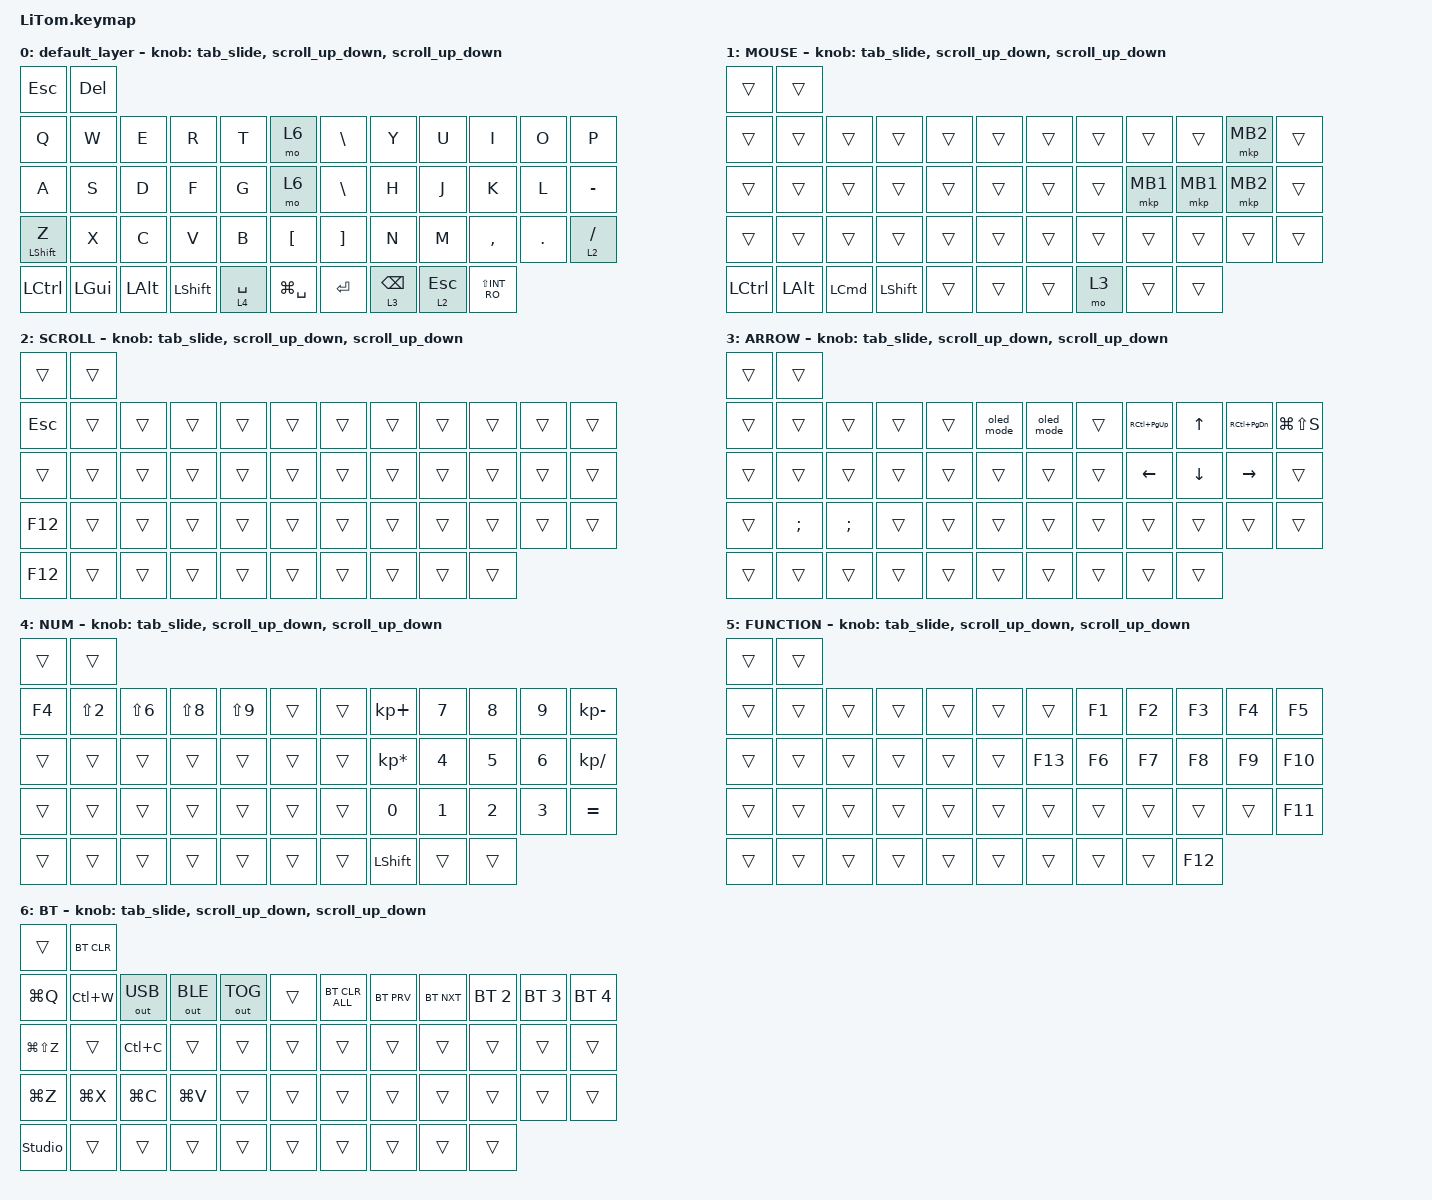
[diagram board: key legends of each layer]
#include <zephyr/dt-bindings/input/input-event-codes.h>
#include <input/processors/runtime-input-processor.dtsi>
#include <behaviors/runtime-sensor-rotate.dtsi>
#include <behaviors.dtsi>
#include <dt-bindings/zmk/bt.h>
#include <dt-bindings/zmk/keys.h>
#include <dt-bindings/zmk/outputs.h>
#include <dt-bindings/zmk/pointing.h>

#undef ZMK_POINTING_DEFAULT_SCRL_VAL

#define ZMK_POINTING_DEFAULT_SCRL_VAL 80

/ {
    behaviors {
        scroll_up_down: behavior_sensor_rotate_mouse_wheel_up_down {
            compatible = "zmk,behavior-runtime-sensor-rotate";
            label = "ENCODER_MSC_DOWN_UP";
            #sensor-binding-cells = <0>;
            cw-binding = <&msc SCRL_DOWN>;
            ccw-binding = <&msc SCRL_UP>;
            tap-ms = <20>;
        };

        tab_slide: behavior_sensor_rotate_tab_slide {
            compatible = "zmk,behavior-runtime-sensor-rotate";
            label = "ENCODER_TAB_SLIDE";
            #sensor-binding-cells = <0>;
            cw-binding = <&kp LA(LG(RIGHT_ARROW))>;
            ccw-binding = <&kp LA(LG(LEFT_ARROW))>;
            tap-ms = <20>;
        };
    };

    keymap: combos {
        compatible = "zmk,combos";

        tab {
            bindings = <&kp TAB>;
            key-positions = <14 15>;
        };
    };

    keymap {
        compatible = "zmk,keymap";

        default_layer {
            bindings = <
&kp ESCAPE        &kp DELETE
&kp Q             &kp W         &kp E         &kp R           &kp T        &mo 6             &kp BACKSLASH      &kp Y            &kp U         &kp I           &kp O    &kp P
&kp A             &kp S         &kp D         &kp F           &kp G        &mo 6             &kp BACKSLASH      &kp H            &kp J         &kp K           &kp L    &kp MINUS
&mt LEFT_SHIFT Z  &kp X         &kp C         &kp V           &kp B        &kp LEFT_BRACKET  &kp RIGHT_BRACKET  &kp N            &kp M         &kp COMMA       &kp DOT  &lt 2 SLASH
&kp LCTRL         &kp LEFT_GUI  &kp LEFT_ALT  &kp LEFT_SHIFT  &lt 4 SPACE  &kp LG(SPACE)     &kp ENTER          &lt 3 BACKSPACE  &lt 2 ESCAPE  &kp LS(INT_RO)
            >;

            sensor-bindings = <
                &tab_slide
                &scroll_up_down
                &scroll_up_down
            >;
        };

        MOUSE {
            bindings = <
&trans     &trans
&trans     &trans        &trans            &trans          &trans  &trans  &trans  &trans  &trans    &trans    &mkp MB2  &trans
&trans     &trans        &trans            &trans          &trans  &trans  &trans  &trans  &mkp MB1  &mkp MB1  &mkp MB2  &trans
&trans     &trans        &trans            &trans          &trans  &trans  &trans  &trans  &trans    &trans    &trans    &trans
&kp LCTRL  &kp LEFT_ALT  &kp LEFT_COMMAND  &kp LEFT_SHIFT  &trans  &trans  &trans  &mo 3   &trans    &trans
            >;

            sensor-bindings = <
                &tab_slide
                &scroll_up_down
                &scroll_up_down
            >;
        };

        SCROLL {
            bindings = <
&trans      &trans
&kp ESCAPE  &trans  &trans  &trans  &trans  &trans  &trans  &trans  &trans  &trans  &trans  &trans
&trans      &trans  &trans  &trans  &trans  &trans  &trans  &trans  &trans  &trans  &trans  &trans
&kp F12     &trans  &trans  &trans  &trans  &trans  &trans  &trans  &trans  &trans  &trans  &trans
&kp F12     &trans  &trans  &trans  &trans  &trans  &trans  &trans  &trans  &trans
            >;

            sensor-bindings = <
                &tab_slide
                &scroll_up_down
                &scroll_up_down
            >;
        };

        ARROW {
            bindings = <
&trans  &trans
&trans  &trans    &trans    &trans  &trans  &oled_mode  &oled_mode  &trans  &kp RC(PAGE_UP)  &kp UP_ARROW    &kp RC(PAGE_DOWN)  &kp LG(LS(S))
&trans  &trans    &trans    &trans  &trans  &trans      &trans      &trans  &kp LEFT_ARROW   &kp DOWN_ARROW  &kp RIGHT_ARROW    &trans
&trans  &kp SEMI  &kp SEMI  &trans  &trans  &trans      &trans      &trans  &trans           &trans          &trans             &trans
&trans  &trans    &trans    &trans  &trans  &trans      &trans      &trans  &trans           &trans
            >;

            sensor-bindings = <
                &tab_slide
                &scroll_up_down
                &scroll_up_down
            >;
        };

        NUM {
            bindings = <
&trans  &trans
&kp F4  &kp LS(N2)  &kp LS(N6)  &kp LS(N8)  &kp LS(N9)  &trans  &trans  &kp KP_PLUS      &kp NUMBER_7  &kp NUMBER_8  &kp NUMBER_9  &kp KP_MINUS
&trans  &trans      &trans      &trans      &trans      &trans  &trans  &kp KP_MULTIPLY  &kp NUMBER_4  &kp NUMBER_5  &kp NUMBER_6  &kp KP_SLASH
&trans  &trans      &trans      &trans      &trans      &trans  &trans  &kp NUMBER_0     &kp NUMBER_1  &kp NUMBER_2  &kp NUMBER_3  &kp EQUAL
&trans  &trans      &trans      &trans      &trans      &trans  &trans  &kp LEFT_SHIFT   &trans        &trans
            >;

            sensor-bindings = <
                &tab_slide
                &scroll_up_down
                &scroll_up_down
            >;
        };

        FUNCTION {
            bindings = <
&trans  &trans
&trans  &trans  &trans  &trans  &trans  &trans  &trans   &kp F1  &kp F2  &kp F3   &kp F4  &kp F5
&trans  &trans  &trans  &trans  &trans  &trans  &kp F13  &kp F6  &kp F7  &kp F8   &kp F9  &kp F10
&trans  &trans  &trans  &trans  &trans  &trans  &trans   &trans  &trans  &trans   &trans  &kp F11
&trans  &trans  &trans  &trans  &trans  &trans  &trans   &trans  &trans  &kp F12
            >;

            sensor-bindings = <
                &tab_slide
                &scroll_up_down
                &scroll_up_down
            >;
        };

        BT {
            bindings = <
&trans          &bt BT_CLR
&kp LG(Q)       &kp LC(W)   &out OUT_USB  &out OUT_BLE  &out OUT_TOG  &trans  &bt BT_CLR_ALL  &bt BT_PRV  &bt BT_NXT  &bt BT_SEL 2  &bt BT_SEL 3  &bt BT_SEL 4
&kp LG(LS(Z))   &trans      &kp LC(C)     &trans        &trans        &trans  &trans          &trans      &trans      &trans        &trans        &trans
&kp LG(Z)       &kp LG(X)   &kp LG(C)     &kp LG(V)     &trans        &trans  &trans          &trans      &trans      &trans        &trans        &trans
&studio_unlock  &trans      &trans        &trans        &trans        &trans  &trans          &trans      &trans      &trans
            >;

            sensor-bindings = <
                &tab_slide
                &scroll_up_down
                &scroll_up_down
            >;
        };
    };
};
